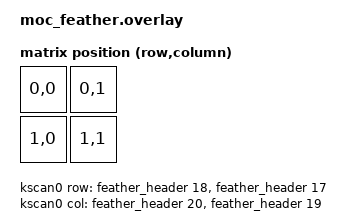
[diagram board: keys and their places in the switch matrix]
/*
 * Copyright (c) 2022 The ZMK Contributors
 *
 * SPDX-License-Identifier: MIT
 */

#include <dt-bindings/zmk/matrix_transform.h>
#include "moc_feather-layouts.dtsi"

/ {
	chosen {
		zmk,kscan = &kscan0;
		zmk,physical-layout = &physical_layout0;
	};
	
	matrix_transform0: keymap_transform_0 {
		compatible = "zmk,matrix-transform";
		   columns = <2>;
		      rows = <2>;
		       map = <
		           RC(0,0) RC(0,1)
		           RC(1,0) RC(1,1)
		       >;
	};
	
	
	kscan0: kscan_0 {
		compatible = "zmk,kscan-gpio-matrix";
		wakeup-source;
		diode-direction = "col2row";
		
		col-gpios
		        = <&feather_header 20 GPIO_ACTIVE_HIGH> // D13, col1
		        , <&feather_header 19 GPIO_ACTIVE_HIGH> // D12, col2
		        ;
		
		row-gpios
		        = <&feather_header 18 (GPIO_ACTIVE_HIGH | GPIO_PULL_DOWN)> // D11, Row1
		        , <&feather_header 17 (GPIO_ACTIVE_HIGH | GPIO_PULL_DOWN)> // D10, Row2
		        ;
	};
};
